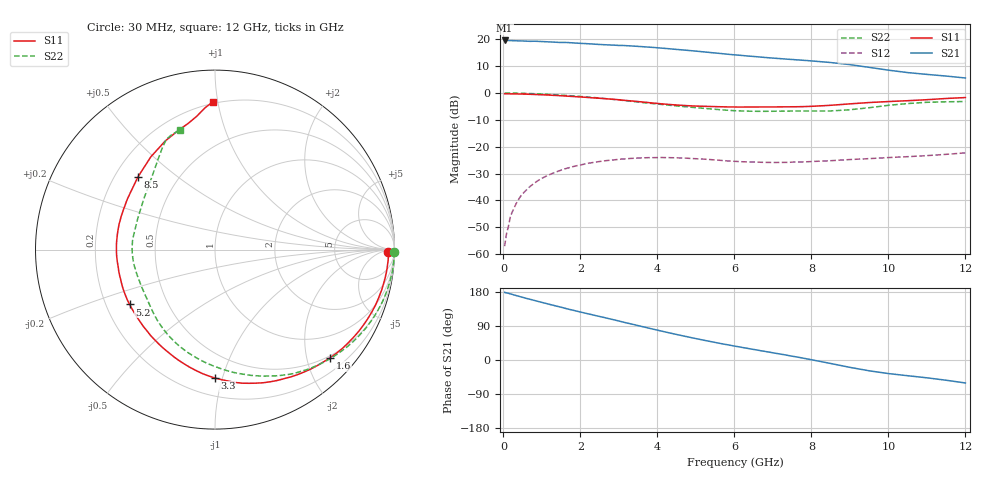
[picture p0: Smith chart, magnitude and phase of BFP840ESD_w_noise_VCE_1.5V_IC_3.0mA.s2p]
! Infineon Technologies  Discrete & RF Semiconductors
! BFP840ESD
! VCE =  1.5 V,  IC =  3.0 mA
! Common Emitter S-Parameters:  May 2012
# GHz  S  MA  R  50
!  f  S11  S21  S12  S22
! GHz  MAG  ANG  MAG  ANG  MAG  ANG  MAG  ANG
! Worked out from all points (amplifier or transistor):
!   93 points, 30 MHz to 12 GHz, reference 50 ohm
!   highest |S21| = 19.6 dB at 30 MHz (marker M1)
!   |S21| within 3 dB of that: start of sweep to 4.228 GHz
!   unconditionally stable (mu >= 1): 6.568 GHz to 10.64 GHz
!   at 1.1 GHz: K = 0.14, MSG = 25.1 dB, |S12| = -31.1 dB
!   at 4.2 GHz: K = 0.47, MSG = 20.3 dB, |S12| = -24.1 dB
!   at 12 GHz: K = 0.68, MSG = 14.0 dB, |S12| = -22.3 dB
!   lowest NFmin = 0.48 dB at 450 MHz
!   S11 on the Smith chart (normalised r, x): 30 MHz: 50, -20; 1.6 GHz: 0.46, -2.45; 3.3 GHz: 0.32, -0.94; 5.2 GHz: 0.30, -0.27; 8.5 GHz: 0.30, +0.37; 12 GHz: 0.19, +0.97
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0.03  0.9663 -0.8  9.54 178.4  0.0014 91.9  0.9987 -0.7
0.18  0.9651 -4.9  9.481 174.5  0.005 86.1  0.9973 -4.4
0.43  0.9581 -11.6  9.34 167.2  0.0115 81.0  0.9901 -10.6
0.9  0.9341 -24.4  9.177 154.6  0.0234 69.9  0.9643 -22.0
1.6  0.8798 -43.3  8.776 136.5  0.0387 54.6  0.9037 -38.7
2.1  0.8346 -56.6  8.363 124.2  0.0473 44.7  0.8516 -50.5
2.7  0.7789 -72.8  7.899 110.1  0.0553 33.7  0.7801 -64.4
3.1  0.7356 -84.4  7.703 100.3  0.0589 26.9  0.7291 -74.0
3.3  0.715 -90.2  7.554 95.5  0.0604 23.6  0.7033 -79.0
3.7  0.6709 -102.0  7.231 85.9  0.0622 17.1  0.6552 -89.1
4.1  0.6291 -114.3  6.875 76.4  0.0629 11.2  0.6128 -99.5
4.7  0.5857 -132.8  6.312 62.9  0.0613 3.6  0.5576 -114.5
5.2  0.5656 -147.3  5.846 52.3  0.0586 -1.2  0.5185 -125.9
5.6  0.5557 -157.9  5.489 44.3  0.056 -3.6  0.4908 -134.7
6.1  0.548 -169.6  5.08 35.0  0.0529 -4.4  0.4657 -145.8
6.7  0.5498 177.2  4.665 24.2  0.0512 -3.8  0.4565 -159.7
7.5  0.5547 160.7  4.214 10.1  0.0515 -1.7  0.4614 -177.4
8.5  0.5904 136.6  3.699 -9.2  0.0548 -0.4  0.4636 158.5
9  0.6283 124.7  3.385 -19.4  0.0576 -1.0  0.4877 144.3
9.5  0.6649 114.8  3.01 -28.5  0.0599 -1.9  0.5329 131.6
10.5  0.7193 101.9  2.404 -41.5  0.0651 -4.4  0.6363 117.6
12  0.8236 90.8  1.905 -60.6  0.0767 -8.9  0.6944 106.1
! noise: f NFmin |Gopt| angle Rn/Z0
0.45  0.48  0.61  2  0.3
0.9  0.49  0.61  7  0.27
1.5  0.53  0.61  19  0.23
1.9  0.58  0.6  21  0.2
2.4  0.61  0.53  33  0.19
3.5  0.68  0.43  58  0.15
5.5  0.87  0.32  116  0.11
8  1.11  0.43  -150  0.06
10  1.33  0.54  -108  0.16
12  1.62  0.59  -85  0.28
